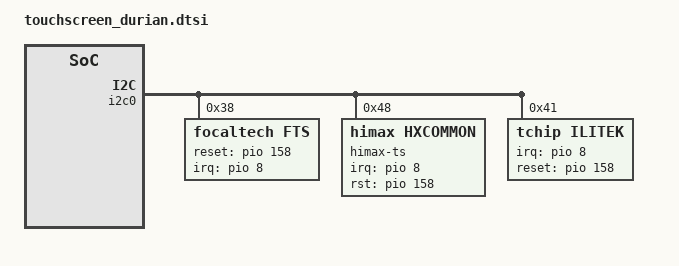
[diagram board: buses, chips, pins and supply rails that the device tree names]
&i2c0 {
	status = "okay";
	focaltech@38 {
		compatible = "focaltech,fts";
		reg = <0x38>;
		interrupt-parent = <&pio>;
		interrupts = <8 IRQ_TYPE_EDGE_FALLING 8 0>;
		focaltech,reset-gpio = <&pio 158 0x00>;
		focaltech,irq-gpio = <&pio 8 0x00>;
		focaltech,display-coords = <0 0 719 1559>;
		focaltech,max-touch-number = <10>;
	};

	himax-ts@48 {
		compatible = "himax,hxcommon";
		reg = <0x48>;
		interrupt-parent = <&pio>;
		interrupts = <8 IRQ_TYPE_EDGE_FALLING 8 0>;
		himax,panel-coords = <0 719 0 1559>;
		himax,display-coords = <0 719 0 1559>;
		himax,irq-gpio = <&pio 8 0x00>;
		himax,rst-gpio = <&pio 158 0x00>;
		report_type = <1>;
	};

	ilitek@41 {
		compatible = "tchip,ilitek";
		reg  = <0x41>;
		touch,irq-gpio = <&pio 8 0x00>;
		touch,reset-gpio = <&pio 158 0x00>;
	};
};
